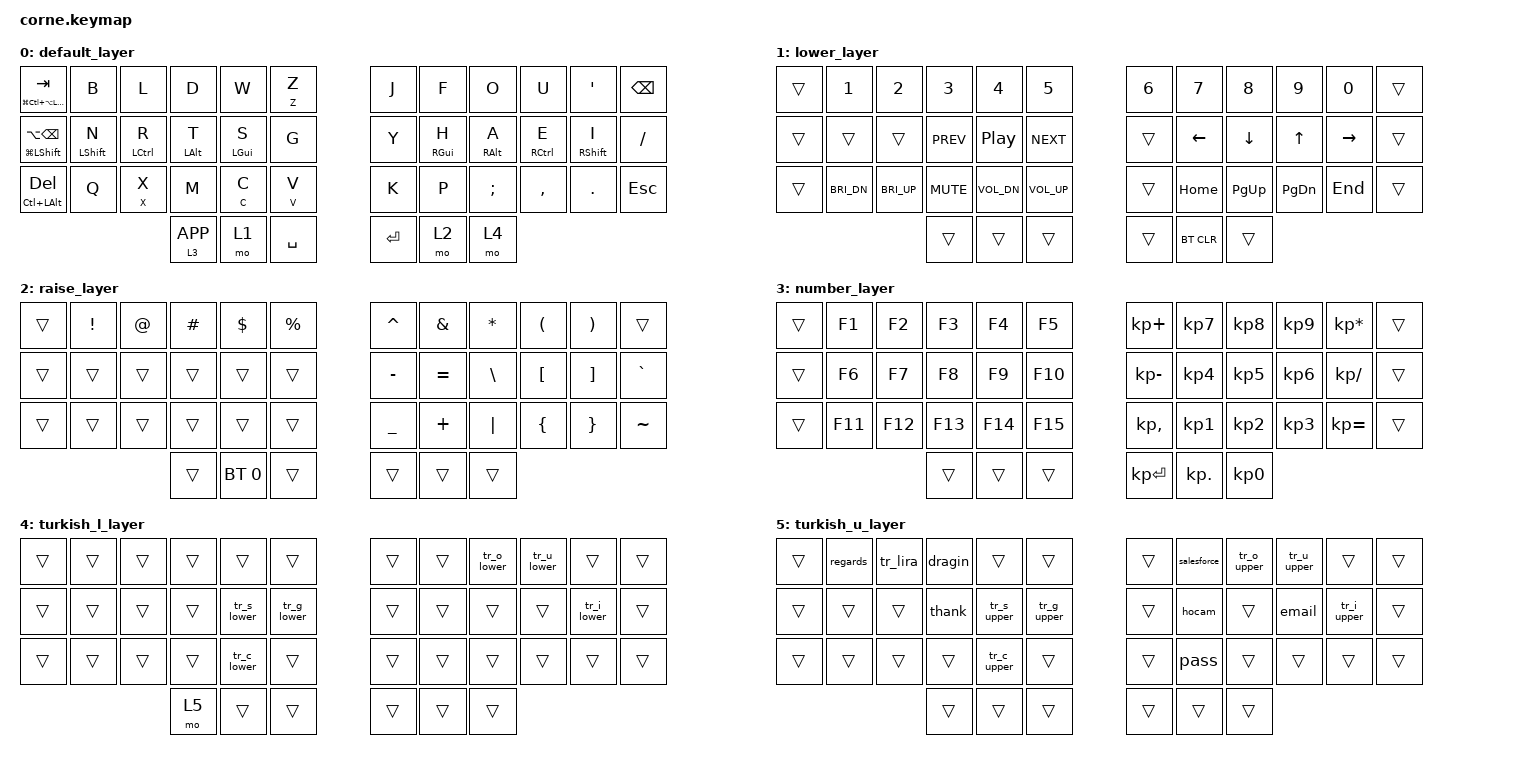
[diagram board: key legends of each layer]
/*
 * Copyright (c) 2020 The ZMK Contributors
 *
 * SPDX-License-Identifier: MIT
 */

#include <behaviors.dtsi>
#include <dt-bindings/zmk/keys.h>
#include <dt-bindings/zmk/bt.h>
#include "turkish.dtsi"

#define HYPER LG(LC(LA(LSHFT)))

// Positional hand definitions for 36-key Corne layout
#define KEYS_L 0 1 2 3 4 5 12 13 14 15 16 17 24 25 26 27 28 29
#define KEYS_R 6 7 8 9 10 11 18 19 20 21 22 23 30 31 32 33 34 35
#define THUMBS 36 37 38 39 40 41

/ {
    macros {
        // Cmd + key as one press and release, so holding the physical key
        // fires the shortcut exactly once (no OS key repeat).
        cmd_z: cmd_z {
            compatible = "zmk,behavior-macro";
            #binding-cells = <0>;
            wait-ms = <0>;
            tap-ms = <20>;
            bindings = <&macro_tap &kp LG(Z)>;
        };
        cmd_x: cmd_x {
            compatible = "zmk,behavior-macro";
            #binding-cells = <0>;
            wait-ms = <0>;
            tap-ms = <20>;
            bindings = <&macro_tap &kp LG(X)>;
        };
        cmd_c: cmd_c {
            compatible = "zmk,behavior-macro";
            #binding-cells = <0>;
            wait-ms = <0>;
            tap-ms = <20>;
            bindings = <&macro_tap &kp LG(C)>;
        };
        cmd_v: cmd_v {
            compatible = "zmk,behavior-macro";
            #binding-cells = <0>;
            wait-ms = <0>;
            tap-ms = <20>;
            bindings = <&macro_tap &kp LG(V)>;
        };
    };

    behaviors {
        // Left hand home row mods (triggered by right hand keys)
        hml: home_row_mod_left {
            compatible = "zmk,behavior-hold-tap";
            #binding-cells = <2>;
            flavor = "tap-preferred";
            tapping-term-ms = <280>;
            quick-tap-ms = <175>;
            require-prior-idle-ms = <150>;
            bindings = <&kp>, <&kp>;
            hold-trigger-key-positions = <KEYS_R THUMBS>;
            hold-trigger-on-release;
        };

        // Clipboard keys: tap = plain letter, hold = Cmd + letter, fired once.
        // Usage: &clip_c C C  (the first value is ignored, the macro already
        // knows which shortcut to send; the second value is the tap letter).
        // tap-preferred means any other key pressed while one of these is
        // undecided turns it into a tap, so rolls and fast typing never
        // trigger a shortcut. require-prior-idle-ms makes it resolve as a
        // tap instantly if you typed anything in the last 250 ms. The 300 ms
        // term leaves room for slow rolls (like C then L at the start of a
        // word), which would otherwise time out into Cmd+C.
        clip_z: clipboard_hold_tap_z {
            compatible = "zmk,behavior-hold-tap";
            #binding-cells = <2>;
            flavor = "tap-preferred";
            tapping-term-ms = <300>;
            quick-tap-ms = <175>;
            require-prior-idle-ms = <250>;
            bindings = <&cmd_z>, <&kp>;
        };

        clip_x: clipboard_hold_tap_x {
            compatible = "zmk,behavior-hold-tap";
            #binding-cells = <2>;
            flavor = "tap-preferred";
            tapping-term-ms = <300>;
            quick-tap-ms = <175>;
            require-prior-idle-ms = <250>;
            bindings = <&cmd_x>, <&kp>;
        };

        clip_c: clipboard_hold_tap_c {
            compatible = "zmk,behavior-hold-tap";
            #binding-cells = <2>;
            flavor = "tap-preferred";
            tapping-term-ms = <300>;
            quick-tap-ms = <175>;
            require-prior-idle-ms = <250>;
            bindings = <&cmd_c>, <&kp>;
        };

        clip_v: clipboard_hold_tap_v {
            compatible = "zmk,behavior-hold-tap";
            #binding-cells = <2>;
            flavor = "tap-preferred";
            tapping-term-ms = <300>;
            quick-tap-ms = <175>;
            require-prior-idle-ms = <250>;
            bindings = <&cmd_v>, <&kp>;
        };

        // Right hand home row mods (triggered by left hand keys)
        hmr: home_row_mod_right {
            compatible = "zmk,behavior-hold-tap";
            #binding-cells = <2>;
            flavor = "tap-preferred";
            tapping-term-ms = <280>;
            quick-tap-ms = <175>;
            require-prior-idle-ms = <150>;
            bindings = <&kp>, <&kp>;
            hold-trigger-key-positions = <KEYS_L THUMBS>;
            hold-trigger-on-release;
        };
    };

    keymap {
        compatible = "zmk,keymap";

        default_layer {
            bindings = <
                &mt HYPER TAB          &kp B        &kp L        &kp D       &kp W       &clip_z Z Z              &kp J   &kp F       &kp O       &kp U        &kp SQT      &kp BSPC
                &mt LG(LSHFT) LA(BSPC) &hml LSHFT N &hml LCTRL R &hml LALT T &hml LGUI S &kp G                    &kp Y   &hmr RGUI H &hmr RALT A &hmr RCTRL E &hmr RSHFT I &kp FSLH
                &mt LC(LALT) DEL       &kp Q        &clip_x X X  &kp M       &clip_c C C &clip_v V V              &kp K   &kp P       &kp SEMI    &kp COMMA    &kp DOT      &kp ESC
                                                                 &lt 3 K_APP &mo 1       &kp SPACE                &kp RET &mo 2       &mo 4
            >;
        };

        lower_layer {
            bindings = <
                &trans &kp N1       &kp N2       &kp N3     &kp N4       &kp N5           &kp N6    &kp N7     &kp N8    &kp N9    &kp N0    &trans
                &trans &trans       &trans       &kp C_PREV &kp C_PP     &kp C_NEXT       &trans    &kp LEFT   &kp DOWN  &kp UP    &kp RIGHT &trans
                &trans &kp C_BRI_DN &kp C_BRI_UP &kp C_MUTE &kp C_VOL_DN &kp C_VOL_UP     &trans    &kp HOME   &kp PG_UP &kp PG_DN &kp END   &trans
                                                 &trans     &trans       &trans           &trans    &bt BT_CLR &trans
            >;
        };

        raise_layer {
            bindings = <
                &trans &kp EXCL &kp AT &kp HASH &kp DLLR     &kp PRCNT        &kp CARET &kp AMPS  &kp ASTRK &kp LPAR &kp RPAR &trans
                &trans &trans   &trans &trans   &trans       &trans           &kp MINUS &kp EQUAL &kp BSLH  &kp LBKT &kp RBKT &kp GRAVE
                &trans &trans   &trans &trans   &trans       &trans           &kp UNDER &kp PLUS  &kp PIPE  &kp LBRC &kp RBRC &kp TILDE
                                       &trans   &bt BT_SEL 0 &trans           &trans    &trans    &trans
            >;
        };

        number_layer {
            bindings = <
                &trans &kp F1  &kp F2  &kp F3  &kp F4  &kp F5           &kp KP_PLUS  &kp KP_N7  &kp KP_N8  &kp KP_N9 &kp KP_MULTIPLY &trans
                &trans &kp F6  &kp F7  &kp F8  &kp F9  &kp F10          &kp KP_MINUS &kp KP_N4  &kp KP_N5  &kp KP_N6 &kp KP_DIVIDE   &trans
                &trans &kp F11 &kp F12 &kp F13 &kp F14 &kp F15          &kp KP_COMMA &kp KP_N1  &kp KP_N2  &kp KP_N3 &kp KP_EQUAL    &trans
                                          &trans &trans &trans          &kp KP_ENTER &kp KP_DOT &kp KP_N0 
            >;
        };

        turkish_l_layer {
            bindings = <
                &trans &trans &trans &trans &trans      &trans          &trans &trans &tr_o_lower &tr_u_lower &trans      &trans
                &trans &trans &trans &trans &tr_s_lower &tr_g_lower     &trans &trans &trans      &trans      &tr_i_lower &trans
                &trans &trans &trans &trans &tr_c_lower &trans          &trans &trans &trans      &trans      &trans      &trans
                                     &mo 5  &trans      &trans          &trans &trans &trans
            >;
        };

        turkish_u_layer {
            bindings = <
                &trans &regards &tr_lira &dragin &trans      &trans          &trans &salesforce &tr_o_upper &tr_u_upper &trans      &trans
                &trans &trans   &trans   &thank  &tr_s_upper &tr_g_upper     &trans &hocam      &trans      &email      &tr_i_upper &trans
                &trans &trans   &trans   &trans  &tr_c_upper &trans          &trans &pass       &trans      &trans      &trans      &trans
                                               &trans &trans &trans          &trans &trans &trans
            >;
        };

    };
};
